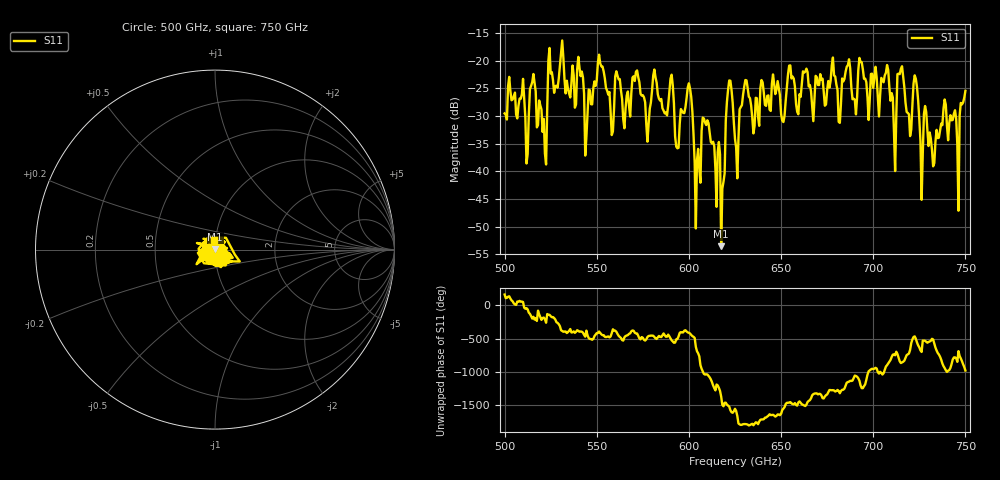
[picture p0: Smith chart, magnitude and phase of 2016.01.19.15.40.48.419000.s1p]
!Created with skrf (http://scikit-rf.org).
# GHz S RI R 50.0
!freq ReS11 ImS11
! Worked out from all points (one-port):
!   401 points, 500 GHz to 750 GHz, reference 50 ohm
!   lowest |S11| = -53.6 dB at 617.5 GHz (marker M1), VSWR 1.00, Z = 50.1 + j0.187 ohm
!   |S11| at or under -10 dB: start of sweep to end of sweep
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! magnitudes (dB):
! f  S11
! 500 GHz  -29.5
! 511.9 GHz  -38.6
! 515.6 GHz  -22.4
! 521.9 GHz  -36.8
! 525 GHz  -22.3
! 531.2 GHz  -16.3
! 544.4 GHz  -33.8
! 551.9 GHz  -20.5
! 558.1 GHz  -33.4
! 562.5 GHz  -23.3
! 590.6 GHz  -22.5
! 593.8 GHz  -35.8
! 600 GHz  -24.1
! 605 GHz  -35.9
! 608.8 GHz  -31.2
! 617.5 GHz  -53.6
! 621.9 GHz  -23.5
! 625 GHz  -34.1
! 630.6 GHz  -23.5
! 656.2 GHz  -22.8
! 687.5 GHz  -21.3
! 711.2 GHz  -32.8
! 715 GHz  -21.5
! 718.8 GHz  -29.4
! 723.1 GHz  -23.3
! 725.6 GHz  -34.6
! 732.5 GHz  -39.1
! 750 GHz  -25.4
